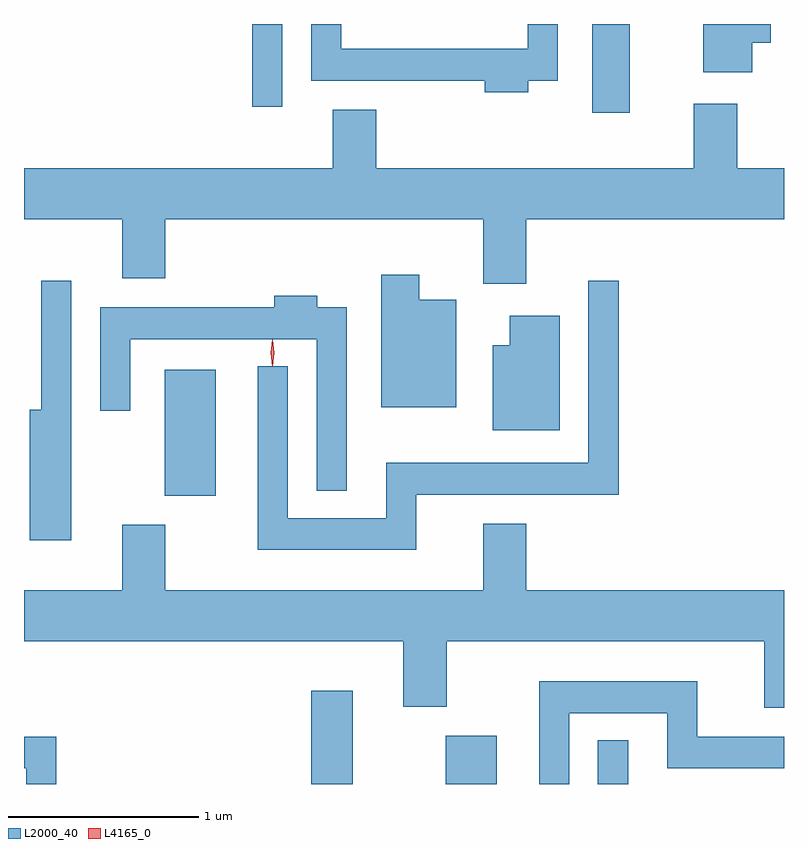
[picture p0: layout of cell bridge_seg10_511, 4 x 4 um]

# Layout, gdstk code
import gdstk
lib = gdstk.Library(unit=1e-6, precision=1e-09)
def R(c, l, rs):  # rectangles x0, y0, x1, y1
    for r in rs: c.add(gdstk.rectangle(r[:2], r[2:], *l))
def P(c, l, *ps):  # polygons
    for p in ps: c.add(gdstk.Polygon(p, *l))
L2000_40 = (2000, 40)
L4165_0 = (4165, 0)

bridge_seg10_511 = lib.new_cell('bridge_seg10_511')
R(bridge_seg10_511, L2000_40, [(768.446,2157.564,768.664,2158.054), (769.156,2157.564,769.424,2157.819), (769.956,2157.564,770.114,2157.793), (767.676,2159.081,767.944,2159.744), (769.926,2161.096,770.124,2161.564), (768.136,2161.128,768.294,2161.564)])
P(bridge_seg10_511, L2000_40, [(769.589,2161.266),(769.744,2161.266),(769.744,2161.564),(769.586,2161.564),(769.586,2161.434),(768.604,2161.434),(768.604,2161.564),(768.446,2161.564),(768.446,2161.266),(769.361,2161.266),(769.361,2161.206),(769.589,2161.206)],
  [(770.769,2161.466),(770.864,2161.466),(770.864,2161.564),(770.511,2161.564),(770.511,2161.311),(770.769,2161.311)],
  [(769.579,2160.536),(770.935,2160.536),(770.935,2160.804),(770.689,2160.804),(770.689,2161.144),(770.461,2161.144),(770.461,2160.804),(768.789,2160.804),(768.789,2161.114),(768.561,2161.114),(768.561,2160.804),(766.935,2160.804),(766.935,2160.536),(767.451,2160.536),(767.451,2160.226),(767.679,2160.226),(767.679,2160.536),(769.351,2160.536),(769.351,2160.196),(769.579,2160.196)],
  [(769.209,2160.114),(769.014,2160.114),(769.014,2160.244),(768.816,2160.244),(768.816,2159.546),(769.209,2159.546)],
  [(767.184,2160.213),(767.026,2160.213),(767.026,2159.534),(766.966,2159.534),(766.966,2158.846),(767.184,2158.846)],
  [(768.999,2159.086),(770.064,2159.086),(770.064,2160.213),(769.906,2160.213),(769.906,2159.254),(768.841,2159.254),(768.841,2158.964),(768.324,2158.964),(768.324,2159.763),(768.166,2159.763),(768.166,2158.796),(768.999,2158.796)],
  [(768.634,2160.074),(768.479,2160.074),(768.479,2160.134),(768.251,2160.134),(768.251,2160.074),(767.336,2160.074),(767.336,2159.528),(767.494,2159.528),(767.494,2159.906),(768.476,2159.906),(768.476,2159.108),(768.634,2159.108)],
  [(769.754,2160.029),(769.491,2160.029),(769.491,2159.874),(769.401,2159.874),(769.401,2159.426),(769.754,2159.426)],
  [(770.935,2158.584),(769.579,2158.584),(769.579,2158.934),(769.351,2158.934),(769.351,2158.584),(767.679,2158.584),(767.679,2158.929),(767.451,2158.929),(767.451,2158.584),(766.935,2158.584),(766.935,2158.316),(768.931,2158.316),(768.931,2157.971),(769.159,2157.971),(769.159,2158.316),(770.831,2158.316),(770.831,2157.966),(770.935,2157.966)],
  [(769.804,2157.936),(770.321,2157.936),(770.321,2157.646),(770.935,2157.646),(770.935,2157.814),(770.479,2157.814),(770.479,2158.104),(769.646,2158.104),(769.646,2157.564),(769.804,2157.564)],
  [(767.104,2157.814),(766.935,2157.814),(766.935,2157.646),(766.946,2157.646),(766.946,2157.564),(767.104,2157.564)])
P(bridge_seg10_511, L4165_0, [(768.242,2159.764),(768.233,2159.833),(768.242,2159.902),(768.243,2159.903),(768.244,2159.902),(768.253,2159.833),(768.244,2159.764),(768.243,2159.764)],
  [(768.242,2159.767),(768.233,2159.834),(768.242,2159.9),(768.243,2159.9),(768.244,2159.9),(768.253,2159.834),(768.244,2159.767),(768.243,2159.767)])

lib.write_gds('bridge_seg10_511.gds')
